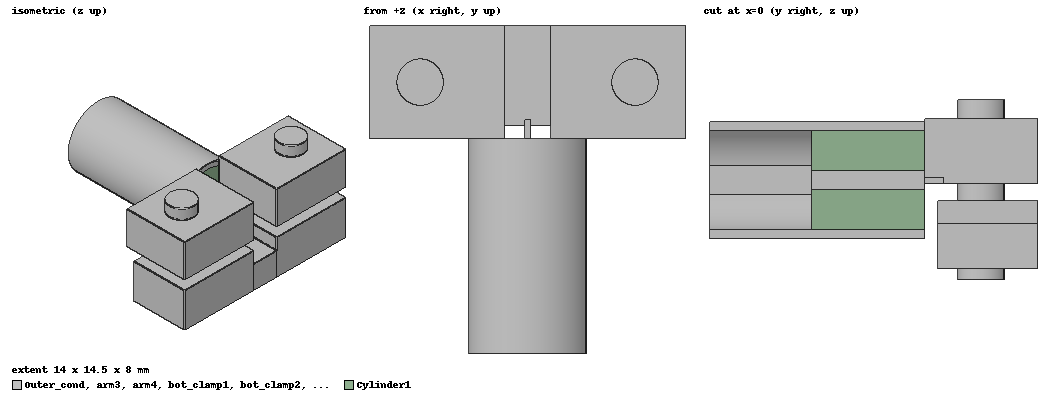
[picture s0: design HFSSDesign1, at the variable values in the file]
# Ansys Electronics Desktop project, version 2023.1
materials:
  vacuum: permittivity=1
  pec: conductivity=1e+30
  Teflon (tm): permittivity=2.1 dielectric_loss_tangent=0.001
  air: permittivity=1.0006 permeability=1.0000004
  Ultem 1000 Polyetherimide (PEI): permittivity=3.15 dielectric_loss_tangent=0.0012

design HFSSDesign1 (HFSS, HFSS Modal Network, model units mm)
options: Save_Adaptive_support_files
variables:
  SX = 14mm
  SY = 5mm
  SZ = 2.85mm
  subH = 0.787mm
  pinD = 0.25mm
  pinL = 0.83mm
  in = 0.43mm
  OutD = 2.6mm
  OutL = 9.5mm
  TefD = 2.2mm
  innerD = 0.63mm
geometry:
  coordinate_system RelativeCS1 = origin=(7mm, 3mm, 0mm) x=(1mm, 0mm, 0mm) y=(0mm, 1mm, 0mm)
  bot_clamp1 [pec] = box(corner=(0mm, 0.6mm, 0mm), size=(-6mm, 4.4mm, -3mm)) in RelativeCS1
  coordinate_system RelativeCS2 = origin=(-14mm, 0mm, 0mm) x=(1mm, 0mm, 0mm) y=(0mm, 1mm, 0mm) in RelativeCS1
  coordinate_system RelativeCS3 = origin=(0mm, 0mm, 0) x=(1mm, 0mm, 0mm) y=(0mm, 1mm, 0mm) in RelativeCS2
  coordinate_system RelativeCS4 = origin=(0mm, 0mm, subH) x=(1mm, 0mm, 0mm) y=(0mm, 1mm, 0mm) in RelativeCS3
  coordinate_system Center_CS = origin=(SX/2, 0mm, 0mm) x=(1mm, 0mm, 0mm) y=(0mm, 1mm, 0mm) in RelativeCS4
  coordinate_system pin_CS = origin=(0mm, 0mm, pinD/2) x=(1mm, 0mm, 0mm) y=(0mm, 1mm, 0mm) in Center_CS
  Center_pin [pec] = box(corner=(-pinD/2, 0mm, -pinD/2), size=(pinD, pinL, pinD)) in pin_CS
  inner_pin [pec] = cylinder(axis=Y, base_centre=(0mm, 0mm, 0mm), radius=in, height=-SY) in pin_CS
  coordinate_system Out_CS = origin=(0mm, 0mm, 0mm) x=(1mm, 0mm, 0mm) y=(0mm, 1mm, 0mm) in pin_CS
  Outer_cond [pec] = cylinder(axis=Y, base_centre=(0mm, 0mm, 0mm), radius=OutD, height=-OutL) in Out_CS
  Teflon = cylinder(axis=Y, base_centre=(0mm, 0mm, 0mm), radius=TefD, height=-OutL) in Out_CS
  Teflon_1 = Teflon.copy()
  Teflon.delete()
  Outer_cond.subtract(Teflon_1)
  Inner_cond [pec] = cylinder(axis=Y, base_centre=(0mm, -SY, 0mm), radius=innerD, height=-OutL+SY) in Out_CS
  coordinate_system RelativeCS5 = origin=(0mm, -OutL, 0mm) x=(1mm, 0mm, 0mm) y=(0mm, 1mm, 0mm) in Out_CS
  Circle1 = circle(normal=Y, centre=(0mm, 0mm, 0mm), radius=OutD) in RelativeCS5
  arm3 [pec] = box(corner=(0mm, 0mm, 0mm), size=(6mm, 5mm, 2.85mm)) in RelativeCS4
  arm4 [pec] = arm3.duplicate_along_line(step=(SX-6mm, 0mm, 0mm), total=2) in RelativeCS4
  bot_clamp3 [pec] = box(corner=(6mm, 0.6mm, -1mm), size=(2mm, 4.4mm, -2mm)) in RelativeCS2
  m2x8_bolt [pec] = cylinder(axis=Z, base_centre=(2.25mm, 2.5mm, -3.5mm), radius=1.025mm, height=8mm) in RelativeCS3
  bot_clamp2 [pec] = bot_clamp1.duplicate_along_line(step=(-SX+6mm, 0mm, 0mm), total=2) in RelativeCS1
  m2x8_bolt_1 [pec] = m2x8_bolt.duplicate_along_line(step=(9.5mm, 0mm, 0mm), total=2) in RelativeCS1
  Cylinder1 [Ultem 1000 Polyetherimide (PEI)] = cylinder(axis=Y, base_centre=(0mm, 0mm, 0mm), radius=OutD, height=-SY) in Out_CS
  inner_pin_1 = inner_pin.copy()
  Cylinder1.subtract(inner_pin_1)
  Outer_cond_1 = Outer_cond.copy()
  Cylinder1.subtract(Outer_cond_1)
  m2x8_bolt_1_1 = m2x8_bolt_1.copy()
  arm4.subtract(m2x8_bolt_1_1)
  m2x8_bolt_1_2 = m2x8_bolt_1.copy()
  bot_clamp1.subtract(m2x8_bolt_1_2)
  m2x8_bolt_2 = m2x8_bolt.copy()
  arm3.subtract(m2x8_bolt_2)
  m2x8_bolt_3 = m2x8_bolt.copy()
  bot_clamp2.subtract(m2x8_bolt_3)
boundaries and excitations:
  excitation: Wave Port Objects=Circle1 WavePortType=Modal NumModes=1 Modes{Mode1{CharImp=Zpi RenormImp=50ohm}}
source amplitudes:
  excitation:1: 1W 0deg
